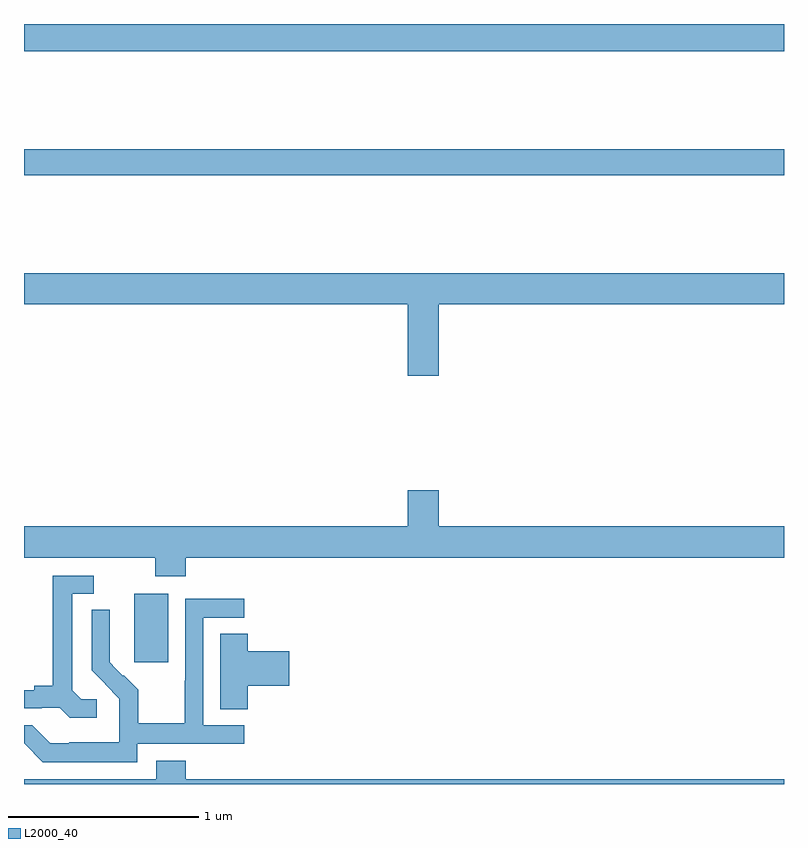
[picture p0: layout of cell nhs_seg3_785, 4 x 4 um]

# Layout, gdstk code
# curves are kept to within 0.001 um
import gdstk
lib = gdstk.Library(unit=1e-6, precision=1e-09)
def R(c, l, rs):  # rectangles x0, y0, x1, y1
    for r in rs: c.add(gdstk.rectangle(r[:2], r[2:], *l))
def P(c, l, *ps):  # polygons
    for p in ps: c.add(gdstk.Polygon(p, *l))
L2000_40 = (2000, 40)

nhs_seg3_785 = lib.new_cell('nhs_seg3_785')
R(nhs_seg3_785, L2000_40, [(151.58,691.041,151.759,691.402), (151,693.604,155,693.74), (151,694.256,155,694.4)])
P(nhs_seg3_785, L2000_40, [(153.184,692.924),(155,692.924),(155,693.088),(151,693.088),(151,692.924),(153.02,692.924),(153.02,692.55),(153.184,692.55)],
  [(151.85,691.592),(155,691.592),(155,691.756),(153.184,691.756),(153.184,691.945),(153.02,691.945),(153.02,691.756),(151,691.756),(151,691.592),(151.69,691.592),(151.69,691.493),(151.85,691.493)],
  [(151.384,690.846),(151.302,690.846),(151.255,690.893),(151.255,691.401),(151.366,691.401),(151.366,691.497),(151.151,691.497),(151.151,690.917),(151.055,690.917),(151.055,690.894),(151,690.894),(151,690.798),(151.094,690.798),(151.094,690.801),(151.188,690.801),(151.24,690.749),(151.384,690.749)],
  [(151.596,690.612),(152.158,690.612),(152.158,690.708),(151.944,690.708),(151.944,691.275),(152.158,691.275),(152.158,691.374),(151.848,691.374),(151.848,690.944),(151.846,690.944),(151.846,690.721),(151.601,690.721),(151.601,690.895),(151.524,690.972),(151.521,690.969),(151.451,691.04),(151.452,691.316),(151.356,691.316),(151.356,690.998),(151.502,690.85),(151.502,690.753),(151.5,690.753),(151.5,690.619),(151.237,690.619),(151.237,690.615),(151.137,690.615),(151.044,690.708),(151,690.708),(151,690.614),(151.099,690.515),(151.596,690.515)],
  [(152.177,690.917),(152.395,690.917),(152.395,691.1),(152.177,691.1),(152.177,691.19),(152.033,691.19),(152.033,690.793),(152.177,690.793)],
  [(155,690.424),(151.85,690.424),(151.85,690.523),(151.697,690.523),(151.697,690.424),(151,690.424),(151,690.4),(155,690.4)])

lib.write_gds('nhs_seg3_785.gds')
